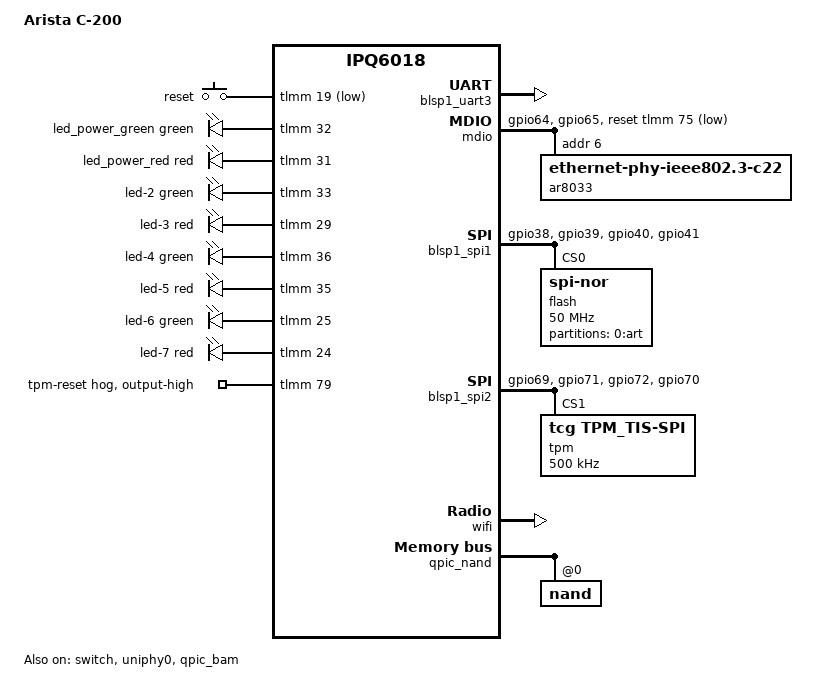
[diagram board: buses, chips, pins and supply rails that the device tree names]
// SPDX-License-Identifier: GPL-2.0-or-later OR MIT

/dts-v1/;

#include "ipq6018.dtsi"
#include "ipq6018-ess.dtsi"
#include "ipq6018-nss.dtsi"
#include <dt-bindings/gpio/gpio.h>
#include <dt-bindings/input/input.h>
#include <dt-bindings/leds/common.h>

/ {
	model = "Arista C-200";
	compatible = "arista,c-200", "qcom,ipq6018";

	aliases {
		serial0 = &blsp1_uart3;
		label-mac-device = &port_lan1;
		led-boot = &led_power_red;
		led-failsafe = &led_power_red;
		led-running = &led_power_green;
		led-upgrade = &led_power_red;
	};

	chosen {
		stdout-path = "serial0:115200n8";
		bootargs-append = " ubi.mtd=rootfs root=/dev/ubiblock0_1";
	};

	keys {
		compatible = "gpio-keys";

		reset-button {
			label = "reset";
			gpios = <&tlmm 19 GPIO_ACTIVE_LOW>;
			linux,code = <KEY_RESTART>;
		};
	};

	leds {
		compatible = "gpio-leds";

		led_power_green: led-0 {
			color = <LED_COLOR_ID_GREEN>;
			function = LED_FUNCTION_POWER;
			gpios = <&tlmm 32 GPIO_ACTIVE_HIGH>;
		};

		led_power_red: led-1 {
			color = <LED_COLOR_ID_RED>;
			function = LED_FUNCTION_POWER;
			gpios = <&tlmm 31 GPIO_ACTIVE_HIGH>;
		};

		led-2 {
			color = <LED_COLOR_ID_GREEN>;
			function = LED_FUNCTION_WLAN_2GHZ;
			gpios = <&tlmm 33 GPIO_ACTIVE_HIGH>;
		};

		led-3 {
			color = <LED_COLOR_ID_RED>;
			function = LED_FUNCTION_WLAN_2GHZ;
			gpios = <&tlmm 29 GPIO_ACTIVE_HIGH>;
		};

		led-4 {
			color = <LED_COLOR_ID_GREEN>;
			function = LED_FUNCTION_WLAN_5GHZ;
			gpios = <&tlmm 36 GPIO_ACTIVE_HIGH>;
		};

		led-5 {
			color = <LED_COLOR_ID_RED>;
			function = LED_FUNCTION_WLAN_5GHZ;
			gpios = <&tlmm 35 GPIO_ACTIVE_HIGH>;
		};

		led-6 {
			color = <LED_COLOR_ID_GREEN>;
			function = LED_FUNCTION_LAN;
			gpios = <&tlmm 25 GPIO_ACTIVE_HIGH>;
		};

		led-7 {
			color = <LED_COLOR_ID_RED>;
			function = LED_FUNCTION_LAN;
			gpios = <&tlmm 24 GPIO_ACTIVE_HIGH>;
		};
	};
};

&blsp1_uart3 {
	pinctrl-0 = <&serial_3_pins>;
	pinctrl-names = "default";
	status = "okay";
};

&rpm {
	status = "disabled";
};

&tlmm {
	/* TZ has exclusive control over GPIO20 */
	gpio-reserved-ranges = <20 1>;

	mdio_pins: mdio-pins {
		mdc {
			pins = "gpio64";
			function = "mdc";
			drive-strength = <8>;
			bias-pull-up;
		};

		mdio {
			pins = "gpio65";
			function = "mdio";
			drive-strength = <8>;
			bias-pull-up;
		};
	};

	/* the TPM's SPI (QUP 2), chip select on GPIO 70 */
	tpm_spi_pins: tpm-spi-state {
		spi {
			pins = "gpio69", "gpio71", "gpio72";
			function = "blsp1_spi";
			drive-strength = <8>;
			bias-pull-down;
		};

		cs {
			pins = "gpio70";
			function = "blsp1_spi";
			drive-strength = <8>;
			bias-disable;
		};
	};

	/* the TPM is held in reset until GPIO 79 is driven high */
	tpm-reset-hog {
		gpio-hog;
		gpios = <79 GPIO_ACTIVE_HIGH>;
		output-high;
		line-name = "tpm-reset";
	};

	spi_0_pins: spi-0-state {
		pins = "gpio38", "gpio39", "gpio40", "gpio41";
		function = "blsp0_spi";
		drive-strength = <8>;
		bias-pull-down;
	};
};

&edma {
	status = "okay";
};

&mdio {
	status = "okay";
	pinctrl-0 = <&mdio_pins>;
	pinctrl-names = "default";
	reset-gpios = <&tlmm 75 GPIO_ACTIVE_LOW>;
	reset-delay-us = <10000>;
	reset-post-delay-us = <50000>;

	ar8033: ethernet-phy@6 {
		compatible = "ethernet-phy-ieee802.3-c22";
		reg = <6>;
	};
};

&switch {
	status = "okay";

	ports {
		#address-cells = <1>;
		#size-cells = <0>;

		port@0 {
			reg = <0>;
			ethernet = <&edma>;
			phy-mode = "internal";

			fixed-link {
				speed = <1000>;
				full-duplex;
			};
		};

		/* the one port, PoE in */
		port_lan1: port@1 {
			reg = <1>;
			label = "lan1";
			phy-handle = <&ar8033>;
			nvmem-cells = <&macaddr_art_18>;
			nvmem-cell-names = "mac-address";
			phy-mode = "sgmii";
			pcs-handle = <&uniphy0 0>;
		};
	};
};

&uniphy0 {
	status = "okay";
};

/* the stock firmware's NOR layout; its kernels are in HL_backup0 and 1 */
&blsp1_spi1 {
	pinctrl-0 = <&spi_0_pins>;
	pinctrl-names = "default";
	status = "okay";

	flash@0 {
		compatible = "jedec,spi-nor";
		reg = <0>;
		spi-max-frequency = <50000000>;
		partitions {
			compatible = "qcom,smem-part";
			qcom,smem-flash-id = <0>;

			partition-0-art {
				label = "0:art";
				read-only;

				nvmem-layout {
					compatible = "fixed-layout";
					#address-cells = <1>;
					#size-cells = <1>;

					macaddr_art_18: macaddr@18 {
						reg = <0x18 0x6>;
					};

					caldata_ipq6018: calibration@1000 {
						reg = <0x1000 0x10000>;
					};
				};
			};
		};
	};
};

&blsp1_spi2 {
	pinctrl-0 = <&tpm_spi_pins>;
	pinctrl-names = "default";
	status = "okay";

	tpm@1 {
		compatible = "tcg,tpm_tis-spi";
		reg = <1>;
		spi-max-frequency = <500000>;
	};
};

&wifi {
	status = "okay";
	qcom,calibration-variant = "Arista-C200";
	nvmem-cells = <&caldata_ipq6018>;
	nvmem-cell-names = "calibration";
};

&qpic_bam {
	status = "okay";
};

&qpic_nand {
	status = "okay";

	/* absorbs the partitions the bootloader adds at boot */
	partitions {
		status = "disabled";
	};

	nand@0 {
		reg = <0>;
		nand-ecc-strength = <4>;
		nand-ecc-step-size = <512>;
		nand-bus-width = <8>;
		partitions {
			compatible = "qcom,smem-part";
			qcom,smem-flash-id = <1>;
		};
	};
};
